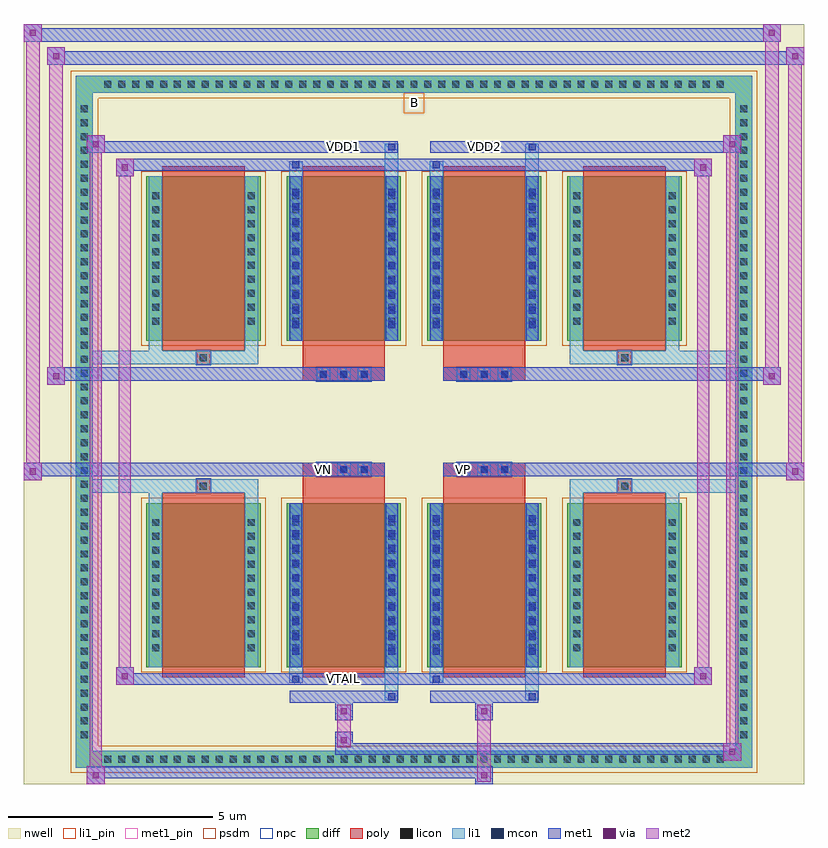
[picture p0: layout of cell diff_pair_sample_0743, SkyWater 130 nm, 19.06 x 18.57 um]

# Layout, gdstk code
import gdstk
lib = gdstk.Library(unit=1e-6, precision=5e-09)
def R(c, l, rs):  # rectangles x0, y0, x1, y1
    for r in rs: c.add(gdstk.rectangle(r[:2], r[2:], *l))
def A(c, l, x, y, w, h, nx, ny, dx, dy):  # array of equal rectangles
    R(c, l, [(x+i*dx, y+j*dy, x+i*dx+w, y+j*dy+h) for i in range(nx) for j in range(ny)])
def P(c, l, *ps):  # polygons
    for p in ps: c.add(gdstk.Polygon(p, *l))
nwell = (64, 20)
diff = (65, 20)
poly = (66, 20)
licon = (66, 44)
li1_pin = (67, 16)
li1 = (67, 20)
mcon = (67, 44)
met1_pin = (68, 16)
met1 = (68, 20)
via = (68, 44)
met2 = (69, 20)
psdm = (94, 20)
npc = (95, 20)

diff_pair_sample_0743 = lib.new_cell('diff_pair_sample_0743')
R(diff_pair_sample_0743, nwell, [(-9.53,-8.85,9.53,9.72), (-6.85,-7.04,-0.01,-0.8), (0.01,-7.04,6.85,-0.8), (-6.85,0.8,-0.01,7.04), (0.01,0.8,6.85,7.04)])
A(diff_pair_sample_0743, diff, -7.685, -8.45, 0.41, 0.41, 45, 2, 0.34, 16.49)
A(diff_pair_sample_0743, diff, -8.26, -7.855, 0.41, 0.41, 1, 46, 0, 0.34)
A(diff_pair_sample_0743, diff, 7.85, -7.855, 0.41, 0.41, 1, 46, 0, 0.34)
A(diff_pair_sample_0743, diff, -6.54, -5.995, 2.79, 4.01, 4, 2, 3.43, 7.98)
R(diff_pair_sample_0743, diff, [(-7.685,-8.45,7.685,-8.04), (-8.26,-7.855,-7.85,7.855), (7.85,-7.855,8.26,7.855), (-7.685,8.04,7.685,8.45)])
P(diff_pair_sample_0743, diff, [(8.26,8.45),(-8.26,8.45),(-8.26,-8.04),(-7.85,-8.04),(-7.85,8.04),(7.85,8.04),(7.85,-8.04),(-7.85,-8.04),(-8.26,-8.04),(-8.26,-8.45),(8.26,-8.45)])
A(diff_pair_sample_0743, poly, -6.15, -6.245, 2.01, 4.51, 4, 2, 3.43, 7.98)
A(diff_pair_sample_0743, poly, -2.38, -1.33, 0.33, 0.33, 3, 2, 0.5, 2.33)
A(diff_pair_sample_0743, poly, 1.05, -1.33, 0.33, 0.33, 3, 2, 0.5, 2.33)
R(diff_pair_sample_0743, poly, [(-5.31,-1.735,-4.98,-1.405), (-5.31,-1.735,-4.98,-1.405), (-2.72,-1.735,-0.71,-1.33), (0.71,-1.735,2.72,-1.33), (4.98,-1.735,5.31,-1.405), (4.98,-1.735,5.31,-1.405), (-2.72,-1.33,-0.71,-1), (0.71,-1.33,2.72,-1), (-2.72,1,-0.71,1.33), (0.71,1,2.72,1.33), (-2.72,1.33,-0.71,1.735), (0.71,1.33,2.72,1.735), (-5.31,1.405,-4.98,1.735), (-5.31,1.405,-4.98,1.735), (4.98,1.405,5.31,1.735), (4.98,1.405,5.31,1.735)])
A(diff_pair_sample_0743, licon, -7.565, -8.33, 0.17, 0.17, 45, 2, 0.34, 16.49)
A(diff_pair_sample_0743, licon, -8.14, -7.735, 0.17, 0.17, 1, 46, 0, 0.34)
A(diff_pair_sample_0743, licon, 7.97, -7.735, 0.17, 0.17, 1, 46, 0, 0.34)
A(diff_pair_sample_0743, licon, -6.4, -5.605, 0.17, 0.17, 1, 10, 0, 0.34)
A(diff_pair_sample_0743, licon, -4.06, -5.605, 0.17, 0.17, 1, 10, 0, 0.34)
A(diff_pair_sample_0743, licon, -2.97, -5.605, 0.17, 0.17, 1, 10, 0, 0.34)
A(diff_pair_sample_0743, licon, -0.63, -5.605, 0.17, 0.17, 1, 10, 0, 0.34)
A(diff_pair_sample_0743, licon, 0.46, -5.605, 0.17, 0.17, 1, 10, 0, 0.34)
A(diff_pair_sample_0743, licon, 2.8, -5.605, 0.17, 0.17, 1, 10, 0, 0.34)
A(diff_pair_sample_0743, licon, 3.89, -5.605, 0.17, 0.17, 1, 10, 0, 0.34)
A(diff_pair_sample_0743, licon, 6.23, -5.605, 0.17, 0.17, 1, 10, 0, 0.34)
A(diff_pair_sample_0743, licon, -2.3, -1.25, 0.17, 0.17, 3, 2, 0.5, 2.33)
A(diff_pair_sample_0743, licon, 1.13, -1.25, 0.17, 0.17, 3, 2, 0.5, 2.33)
A(diff_pair_sample_0743, licon, -6.4, 2.375, 0.17, 0.17, 1, 10, 0, 0.34)
A(diff_pair_sample_0743, licon, -4.06, 2.375, 0.17, 0.17, 1, 10, 0, 0.34)
A(diff_pair_sample_0743, licon, -2.97, 2.375, 0.17, 0.17, 1, 10, 0, 0.34)
A(diff_pair_sample_0743, licon, -0.63, 2.375, 0.17, 0.17, 1, 10, 0, 0.34)
A(diff_pair_sample_0743, licon, 0.46, 2.375, 0.17, 0.17, 1, 10, 0, 0.34)
A(diff_pair_sample_0743, licon, 2.8, 2.375, 0.17, 0.17, 1, 10, 0, 0.34)
A(diff_pair_sample_0743, licon, 3.89, 2.375, 0.17, 0.17, 1, 10, 0, 0.34)
A(diff_pair_sample_0743, licon, 6.23, 2.375, 0.17, 0.17, 1, 10, 0, 0.34)
R(diff_pair_sample_0743, licon, [(-5.23,-1.655,-5.06,-1.485), (5.06,-1.655,5.23,-1.485), (-5.23,1.485,-5.06,1.655), (5.06,1.485,5.23,1.655)])
R(diff_pair_sample_0743, li1_pin, [(-0.25,7.54,0.25,8.04)])
A(diff_pair_sample_0743, li1, -7.645, -8.41, 0.33, 0.33, 45, 2, 0.34, 16.49)
A(diff_pair_sample_0743, li1, -8.22, -7.815, 0.33, 0.33, 1, 46, 0, 0.34)
A(diff_pair_sample_0743, li1, 7.89, -7.815, 0.33, 0.33, 1, 46, 0, 0.34)
A(diff_pair_sample_0743, li1, -2.97, -5.695, 0.17, 0.17, 1, 10, 0, 0.36)
A(diff_pair_sample_0743, li1, -0.63, -5.695, 0.17, 0.17, 1, 10, 0, 0.36)
A(diff_pair_sample_0743, li1, 0.46, -5.695, 0.17, 0.17, 1, 10, 0, 0.36)
A(diff_pair_sample_0743, li1, 2.8, -5.695, 0.17, 0.17, 1, 10, 0, 0.36)
A(diff_pair_sample_0743, li1, -6.48, -5.685, 0.33, 0.33, 1, 10, 0, 0.34)
A(diff_pair_sample_0743, li1, -4.14, -5.685, 0.33, 0.33, 1, 10, 0, 0.34)
A(diff_pair_sample_0743, li1, -3.05, -5.685, 0.33, 0.33, 1, 10, 0, 0.34)
A(diff_pair_sample_0743, li1, -0.71, -5.685, 0.33, 0.33, 1, 10, 0, 0.34)
A(diff_pair_sample_0743, li1, 0.38, -5.685, 0.33, 0.33, 1, 10, 0, 0.34)
A(diff_pair_sample_0743, li1, 2.72, -5.685, 0.33, 0.33, 1, 10, 0, 0.34)
A(diff_pair_sample_0743, li1, 3.81, -5.685, 0.33, 0.33, 1, 10, 0, 0.34)
A(diff_pair_sample_0743, li1, 6.15, -5.685, 0.33, 0.33, 1, 10, 0, 0.34)
A(diff_pair_sample_0743, li1, -2.38, -1.33, 0.33, 0.33, 3, 2, 0.5, 2.33)
A(diff_pair_sample_0743, li1, 1.05, -1.33, 0.33, 0.33, 3, 2, 0.5, 2.33)
A(diff_pair_sample_0743, li1, -2.97, 2.285, 0.17, 0.17, 1, 10, 0, 0.36)
A(diff_pair_sample_0743, li1, -0.63, 2.285, 0.17, 0.17, 1, 10, 0, 0.36)
A(diff_pair_sample_0743, li1, 0.46, 2.285, 0.17, 0.17, 1, 10, 0, 0.36)
A(diff_pair_sample_0743, li1, 2.8, 2.285, 0.17, 0.17, 1, 10, 0, 0.36)
A(diff_pair_sample_0743, li1, -6.48, 2.295, 0.33, 0.33, 1, 10, 0, 0.34)
A(diff_pair_sample_0743, li1, -4.14, 2.295, 0.33, 0.33, 1, 10, 0, 0.34)
A(diff_pair_sample_0743, li1, -3.05, 2.295, 0.33, 0.33, 1, 10, 0, 0.34)
A(diff_pair_sample_0743, li1, -0.71, 2.295, 0.33, 0.33, 1, 10, 0, 0.34)
A(diff_pair_sample_0743, li1, 0.38, 2.295, 0.33, 0.33, 1, 10, 0, 0.34)
A(diff_pair_sample_0743, li1, 2.72, 2.295, 0.33, 0.33, 1, 10, 0, 0.34)
A(diff_pair_sample_0743, li1, 3.81, 2.295, 0.33, 0.33, 1, 10, 0, 0.34)
A(diff_pair_sample_0743, li1, 6.15, 2.295, 0.33, 0.33, 1, 10, 0, 0.34)
R(diff_pair_sample_0743, li1, [(-8.26,-8.45,-7.85,-8.04), (-8.26,-8.45,-7.85,-8.04), (-7.85,-8.45,7.85,-8.04), (7.85,-8.45,8.26,-8.04), (7.85,-8.45,8.26,-8.04), (-8.26,-8.04,-7.85,8.04), (7.85,-8.04,8.26,8.04), (-0.71,-6.8,-0.38,-5.995), (-0.63,-6.8,-0.46,-6.63), (2.72,-6.8,3.05,-5.995), (2.8,-6.8,2.97,-6.63), (-3.05,-6.37,-2.72,-5.995), (-2.97,-6.37,-2.8,-6.2), (0.38,-6.37,0.71,-5.995), (0.46,-6.37,0.63,-6.2), (-6.48,-5.995,-6.15,-1.985), (-4.14,-5.995,-3.81,-1.985), (-3.05,-5.995,-2.72,-1.985), (-0.71,-5.995,-0.38,-1.985), (0.38,-5.995,0.71,-1.985), (2.72,-5.995,3.05,-1.985), (3.81,-5.995,4.14,-1.985), (6.15,-5.995,6.48,-1.985), (-2.97,-5.695,-2.8,-2.285), (-0.63,-5.695,-0.46,-2.285), (0.46,-5.695,0.63,-2.285), (2.8,-5.695,2.97,-2.285), (-6.48,-1.985,-6.15,-1.405), (-4.14,-1.985,-3.81,-1.405), (3.81,-1.985,4.14,-1.405), (6.15,-1.985,6.48,-1.405), (-8.26,-1.735,-5.31,-1.405), (-6.48,-1.735,-5.31,-1.405), (-5.31,-1.735,-4.98,-1.405), (-4.98,-1.735,-3.81,-1.405), (3.81,-1.735,4.98,-1.405), (4.98,-1.735,5.31,-1.405), (4.98,-1.735,8.26,-1.405), (5.31,-1.735,6.48,-1.405), (-8.26,1.405,-5.31,1.735), (-6.48,1.405,-5.31,1.735), (-6.48,1.405,-6.15,1.985), (-5.31,1.405,-4.98,1.735), (-4.98,1.405,-3.81,1.735), (-4.14,1.405,-3.81,1.985), (3.81,1.405,4.98,1.735), (3.81,1.405,4.14,1.985), (4.98,1.405,5.31,1.735), (4.98,1.405,8.26,1.735), (5.31,1.405,6.48,1.735), (6.15,1.405,6.48,1.985), (-6.48,1.985,-6.15,5.995), (-4.14,1.985,-3.81,5.995), (-3.05,1.985,-2.72,5.995), (-0.71,1.985,-0.38,5.995), (0.38,1.985,0.71,5.995), (2.72,1.985,3.05,5.995), (3.81,1.985,4.14,5.995), (6.15,1.985,6.48,5.995), (-2.97,2.285,-2.8,5.695), (-0.63,2.285,-0.46,5.695), (0.46,2.285,0.63,5.695), (2.8,2.285,2.97,5.695), (-3.05,5.995,-2.72,6.37), (-0.71,5.995,-0.38,6.8), (0.38,5.995,0.71,6.37), (2.72,5.995,3.05,6.8), (-2.97,6.2,-2.8,6.37), (0.46,6.2,0.63,6.37), (-0.63,6.63,-0.46,6.8), (2.8,6.63,2.97,6.8), (-8.26,8.04,-7.85,8.45), (-8.26,8.04,-7.85,8.45), (-7.85,8.04,7.85,8.45), (7.85,8.04,8.26,8.45), (7.85,8.04,8.26,8.45)])
A(diff_pair_sample_0743, mcon, -2.97, -5.695, 0.17, 0.17, 1, 10, 0, 0.36)
A(diff_pair_sample_0743, mcon, -0.63, -5.695, 0.17, 0.17, 1, 10, 0, 0.36)
A(diff_pair_sample_0743, mcon, 0.46, -5.695, 0.17, 0.17, 1, 10, 0, 0.36)
A(diff_pair_sample_0743, mcon, 2.8, -5.695, 0.17, 0.17, 1, 10, 0, 0.36)
A(diff_pair_sample_0743, mcon, -2.3, -1.25, 0.17, 0.17, 3, 2, 0.5, 2.33)
A(diff_pair_sample_0743, mcon, 1.13, -1.25, 0.17, 0.17, 3, 2, 0.5, 2.33)
A(diff_pair_sample_0743, mcon, -2.97, 2.285, 0.17, 0.17, 1, 10, 0, 0.36)
A(diff_pair_sample_0743, mcon, -0.63, 2.285, 0.17, 0.17, 1, 10, 0, 0.36)
A(diff_pair_sample_0743, mcon, 0.46, 2.285, 0.17, 0.17, 1, 10, 0, 0.36)
A(diff_pair_sample_0743, mcon, 2.8, 2.285, 0.17, 0.17, 1, 10, 0, 0.36)
R(diff_pair_sample_0743, mcon, [(-0.63,-6.8,-0.46,-6.63), (2.8,-6.8,2.97,-6.63), (-2.97,-6.37,-2.8,-6.2), (0.46,-6.37,0.63,-6.2), (-2.97,6.2,-2.8,6.37), (0.46,6.2,0.63,6.37), (-0.63,6.63,-0.46,6.8), (2.8,6.63,2.97,6.8)])
R(diff_pair_sample_0743, met1_pin, [(-1.85,-6.41,-1.58,-6.14), (-2.35,-1.29,-2.08,-1.02), (1.08,-1.29,1.35,-1.02), (-1.85,6.59,-1.58,6.86), (1.58,6.59,1.85,6.86)])
A(diff_pair_sample_0743, met1, -3.03, -5.755, 0.29, 0.29, 1, 10, 0, 0.36)
A(diff_pair_sample_0743, met1, -0.69, -5.755, 0.29, 0.29, 1, 10, 0, 0.36)
A(diff_pair_sample_0743, met1, 0.4, -5.755, 0.29, 0.29, 1, 10, 0, 0.36)
A(diff_pair_sample_0743, met1, 2.74, -5.755, 0.29, 0.29, 1, 10, 0, 0.36)
A(diff_pair_sample_0743, met1, -2.36, -1.31, 0.29, 0.29, 3, 2, 0.5, 2.33)
A(diff_pair_sample_0743, met1, 1.07, -1.31, 0.29, 0.29, 3, 2, 0.5, 2.33)
A(diff_pair_sample_0743, met1, -3.03, 2.225, 0.29, 0.29, 1, 10, 0, 0.36)
A(diff_pair_sample_0743, met1, -0.69, 2.225, 0.29, 0.29, 1, 10, 0, 0.36)
A(diff_pair_sample_0743, met1, 0.4, 2.225, 0.29, 0.29, 1, 10, 0, 0.36)
A(diff_pair_sample_0743, met1, 2.74, 2.225, 0.29, 0.29, 1, 10, 0, 0.36)
R(diff_pair_sample_0743, met1, [(-7.99,-8.85,-7.56,-8.42), (1.5,-8.85,1.93,-8.42), (-7.99,-8.71,1.93,-8.42), (7.56,-8.28,7.99,-7.85), (-1.93,-8.14,7.99,-7.85), (-1.93,-8,-1.5,-7.57), (-1.93,-7.29,-1.5,-6.86), (1.5,-7.29,1.93,-6.86), (-3.03,-6.86,-0.4,-6.57), (-0.69,-6.86,-0.4,-6.57), (0.4,-6.86,3.03,-6.57), (2.74,-6.86,3.03,-6.57), (-7.28,-6.43,-6.85,-6), (-7.28,-6.43,-3.03,-6.14), (-3.03,-6.43,-2.74,-6.14), (-3.03,-6.43,-0.4,-6.14), (-0.4,-6.43,0.4,-6.14), (0.4,-6.43,0.69,-6.14), (0.4,-6.43,3.03,-6.14), (3.03,-6.43,7.28,-6.14), (6.85,-6.43,7.28,-6), (-3.03,-5.995,-2.74,-1.985), (-0.69,-5.995,-0.4,-1.985), (0.4,-5.995,0.69,-1.985), (2.74,-5.995,3.03,-1.985), (-9.53,-1.43,-9.1,-1), (9.1,-1.43,9.53,-1), (-9.53,-1.33,-0.71,-1), (-2.72,-1.33,-0.71,-1), (0.71,-1.33,2.72,-1), (0.71,-1.33,9.53,-1), (-8.96,0.9,-8.53,1.33), (8.53,0.9,8.96,1.33), (-8.96,1,-2.72,1.33), (-2.72,1,-0.71,1.33), (0.71,1,2.72,1.33), (2.72,1,8.96,1.33), (-3.03,1.985,-2.74,5.995), (-0.69,1.985,-0.4,5.995), (0.4,1.985,0.69,5.995), (2.74,1.985,3.03,5.995), (-7.28,6,-6.85,6.43), (6.85,6,7.28,6.43), (-7.28,6.14,-3.03,6.43), (-3.03,6.14,-2.74,6.43), (-3.03,6.14,-0.4,6.43), (-0.4,6.14,0.4,6.43), (0.4,6.14,0.69,6.43), (0.4,6.14,3.03,6.43), (3.03,6.14,7.28,6.43), (-7.99,6.57,-7.56,7), (-7.99,6.57,-3.03,6.86), (-3.03,6.57,-0.4,6.86), (-0.69,6.57,-0.4,6.86), (0.4,6.57,3.03,6.86), (2.74,6.57,3.03,6.86), (3.03,6.57,7.99,6.86), (7.56,6.57,7.99,7), (-8.96,8.72,-8.53,9.15), (-8.96,8.72,-6.85,9.05), (-6.85,8.72,6.85,9.05), (6.85,8.72,9.53,9.05), (9.1,8.72,9.53,9.15), (-9.53,9.29,-9.1,9.72), (-9.53,9.29,-6.85,9.62), (-6.85,9.29,6.85,9.62), (6.85,9.29,8.96,9.62), (8.53,9.29,8.96,9.72)])
R(diff_pair_sample_0743, via, [(-7.85,-8.71,-7.7,-8.56), (1.64,-8.71,1.79,-8.56), (7.7,-8.14,7.85,-7.99), (-1.79,-7.86,-1.64,-7.71), (-1.79,-7.15,-1.64,-7), (1.64,-7.15,1.79,-7), (-7.14,-6.29,-6.99,-6.14), (6.99,-6.29,7.14,-6.14), (-9.39,-1.29,-9.24,-1.14), (9.24,-1.29,9.39,-1.14), (-8.82,1.04,-8.67,1.19), (8.67,1.04,8.82,1.19), (-7.14,6.14,-6.99,6.29), (6.99,6.14,7.14,6.29), (-7.85,6.71,-7.7,6.86), (7.7,6.71,7.85,6.86), (-8.82,8.86,-8.67,9.01), (9.24,8.86,9.39,9.01), (-9.39,9.43,-9.24,9.58), (8.67,9.43,8.82,9.58)])
R(diff_pair_sample_0743, met2, [(-7.99,-8.85,-7.56,-8.42), (-7.92,-8.85,-7.63,7), (-7.63,-8.85,-7.56,-8.42), (-7.94,-8.8,-7.61,-8.47), (1.55,-8.8,1.88,-8.47), (1.55,-8.47,1.88,-7.24), (7.56,-8.28,7.99,-7.85), (7.63,-8.28,7.92,7), (7.92,-8.28,7.99,-7.85), (7.61,-8.23,7.94,-7.9), (-1.88,-7.95,-1.55,-7.62), (-1.88,-7.62,-1.55,-7.24), (-1.88,-7.24,-1.55,-6.91), (1.55,-7.24,1.88,-6.91), (-7.28,-6.43,-6.85,-6), (-7.21,-6.43,-6.92,6.43), (-6.92,-6.43,-6.85,-6), (6.85,-6.43,7.28,-6), (6.92,-6.43,7.21,6.43), (7.21,-6.43,7.28,-6), (-7.23,-6.38,-6.9,-6.05), (6.9,-6.38,7.23,-6.05), (-9.53,-1.43,-9.1,-1), (-9.48,-1.43,-9.15,9.72), (-9.15,-1.43,-9.1,-1), (9.1,-1.43,9.53,-1), (9.15,-1.43,9.48,9.15), (9.48,-1.43,9.53,-1), (-9.48,-1.38,-9.15,-1.05), (9.15,-1.38,9.48,-1.05), (-8.96,0.9,-8.53,1.33), (-8.91,0.9,-8.58,9.15), (-8.58,0.9,-8.53,1.33), (8.53,0.9,8.96,1.33), (8.58,0.9,8.91,9.72), (8.91,0.9,8.96,1.33), (-8.91,0.95,-8.58,1.28), (8.58,0.95,8.91,1.28), (-7.28,6,-6.85,6.43), (-6.92,6,-6.85,6.43), (6.85,6,7.28,6.43), (7.21,6,7.28,6.43), (-7.23,6.05,-6.9,6.38), (6.9,6.05,7.23,6.38), (-7.99,6.57,-7.56,7), (-7.63,6.57,-7.56,7), (7.56,6.57,7.99,7), (7.92,6.57,7.99,7), (-7.94,6.62,-7.61,6.95), (7.61,6.62,7.94,6.95), (-8.96,8.72,-8.53,9.15), (-8.58,8.72,-8.53,9.15), (9.1,8.72,9.53,9.15), (9.48,8.72,9.53,9.15), (-8.91,8.77,-8.58,9.1), (9.15,8.77,9.48,9.1), (-9.53,9.29,-9.1,9.72), (-9.15,9.29,-9.1,9.72), (8.53,9.29,8.96,9.72), (8.91,9.29,8.96,9.72), (-9.48,9.34,-9.15,9.67), (8.58,9.34,8.91,9.67)])
A(diff_pair_sample_0743, psdm, -6.67, -6.125, 3.05, 4.27, 4, 2, 3.43, 7.98)
P(diff_pair_sample_0743, psdm, [(8.39,8.58),(-8.39,8.58),(-8.39,-7.91),(-7.72,-7.91),(-7.72,7.91),(7.72,7.91),(7.72,-7.91),(-7.72,-7.91),(-8.39,-7.91),(-8.39,-8.58),(8.39,-8.58)])
A(diff_pair_sample_0743, npc, -2.4, -1.35, 0.37, 0.37, 3, 2, 0.5, 2.33)
A(diff_pair_sample_0743, npc, 1.03, -1.35, 0.37, 0.37, 3, 2, 0.5, 2.33)
R(diff_pair_sample_0743, npc, [(-5.33,-1.755,-4.96,-1.385), (4.96,-1.755,5.33,-1.385), (-2.4,-1.35,-1.53,-0.98), (-2.4,-1.35,-1.53,-0.98), (-1.9,-1.35,-1.03,-0.98), (-1.9,-1.35,-1.03,-0.98), (1.03,-1.35,1.9,-0.98), (1.03,-1.35,1.9,-0.98), (1.53,-1.35,2.4,-0.98), (1.53,-1.35,2.4,-0.98), (-2.4,0.98,-1.53,1.35), (-2.4,0.98,-1.53,1.35), (-1.9,0.98,-1.03,1.35), (-1.9,0.98,-1.03,1.35), (1.03,0.98,1.9,1.35), (1.03,0.98,1.9,1.35), (1.53,0.98,2.4,1.35), (1.53,0.98,2.4,1.35), (-5.33,1.385,-4.96,1.755), (4.96,1.385,5.33,1.755)])
diff_pair_sample_0743.add(gdstk.Label('VTAIL', (-1.715,-6.275), layer=68, texttype=5))
diff_pair_sample_0743.add(gdstk.Label('VN', (-2.215,-1.155), layer=68, texttype=5))
diff_pair_sample_0743.add(gdstk.Label('VP', (1.215,-1.155), layer=68, texttype=5))
diff_pair_sample_0743.add(gdstk.Label('B', (0,7.79), layer=67, texttype=5))
diff_pair_sample_0743.add(gdstk.Label('VDD2', (1.715,6.725), layer=68, texttype=5))
diff_pair_sample_0743.add(gdstk.Label('VDD1', (-1.715,6.725), layer=68, texttype=5))

lib.write_gds('diff_pair_sample_0743.gds')
